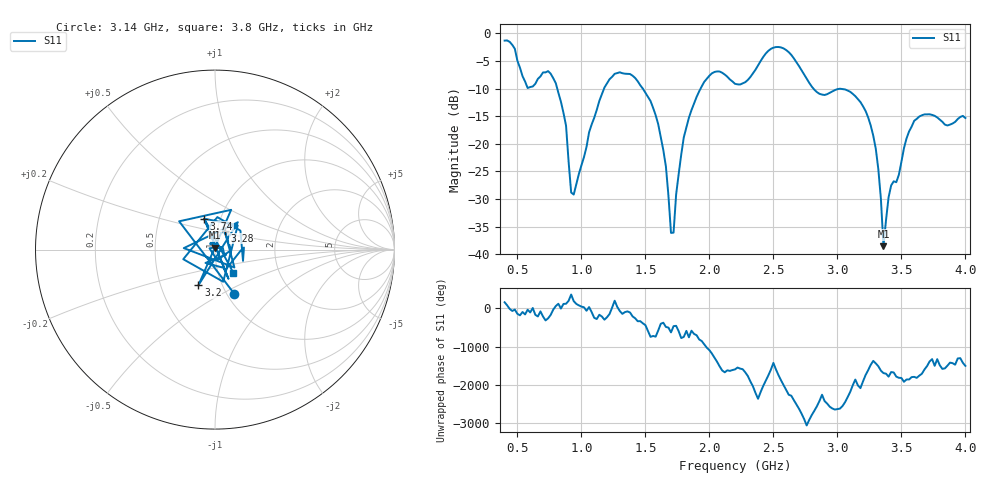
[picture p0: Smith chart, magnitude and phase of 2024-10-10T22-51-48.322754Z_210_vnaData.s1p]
! Created with skrf (http://scikit-rf.org).
# Hz S RI R 50.0
!freq ReS11 ImS11
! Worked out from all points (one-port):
!   181 points, 400 MHz to 4 GHz, reference 50 ohm
!   lowest |S11| = -38.6 dB at 3.36 GHz (marker M1), VSWR 1.02, Z = 49.7 + j1.15 ohm
!   |S11| at or under -10 dB: 811.4 MHz to 1.177 GHz (365.2 MHz wide, 36.7 % of centre); 1.48 GHz to 1.931 GHz (450.6 MHz wide, 26.4 % of centre); 2.813 GHz to end of sweep
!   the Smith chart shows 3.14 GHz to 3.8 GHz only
!   S11 on the Smith chart (normalised r, x): 3.14 GHz: 1.08, -0.58; 3.2 GHz: 0.77, -0.32; 3.28 GHz: 1.09, +0.23; 3.74 GHz: 0.84, +0.30; 3.8 GHz: 1.18, -0.32
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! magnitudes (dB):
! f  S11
! 400 MHz  -1.3
! 580 MHz  -9.9
! 760 MHz  -7.3
! 860 MHz  -14.4
! 940 MHz  -29.2
! 1.14 GHz  -12.2
! 1.3 GHz  -7.0
! 1.58 GHz  -14.8
! 1.66 GHz  -24.1
! 1.7 GHz  -36.1
! 1.76 GHz  -25.5
! 1.84 GHz  -15.3
! 1.96 GHz  -8.8
! 2.2 GHz  -9.1
! 2.5 GHz  -2.6
! 2.66 GHz  -4.5
! 2.86 GHz  -10.9
! 3.1 GHz  -10.6
! 3.14 GHz  -11.4
! 3.2 GHz  -13.2
! 3.28 GHz  -18.5
! 3.32 GHz  -24.6
! 3.36 GHz  -38.6
! 3.42 GHz  -27.5
! 3.56 GHz  -17.8
! 3.74 GHz  -14.8
! 3.8 GHz  -15.6
! 4 GHz  -15.3
